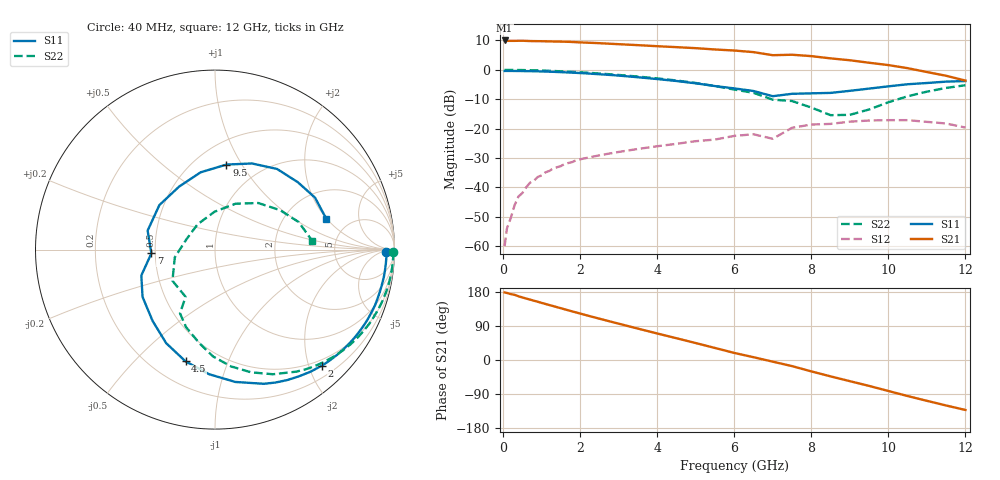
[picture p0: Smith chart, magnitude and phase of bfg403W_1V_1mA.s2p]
! Filename: 11bfg403.001
! BFG403W Field A1
! V1=8.458E-001V,V2=1.000E+000V, I1=1.381E-005A, I2=1.000E-003A
# GHz  S  MA  R 50
!  S11  S21  S12  S22
!Freq(GHz)  Mag  Ang  Mag  Ang  Mag  Ang  Mag  Ang
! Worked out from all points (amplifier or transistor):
!   44 points, 40 MHz to 12 GHz, reference 50 ohm
!   highest |S21| = 10.0 dB at 40 MHz (marker M1)
!   |S21| within 3 dB of that: start of sweep to 5.424 GHz
!   unconditionally stable (mu >= 1): 3.841 GHz to end of sweep
!   at 700 MHz: K = 0.12, MSG = 24.1 dB, |S12| = -38.4 dB
!   at 2.4 GHz: K = 0.46, MSG = 19.2 dB, |S12| = -29.4 dB
!   at 12 GHz: K = 3.08, MAG = 0.2 dB, |S12| = -19.7 dB
!   S11 on the Smith chart (normalised r, x): 40 MHz: 40, -11; 2 GHz: 0.39, -2.23; 4.5 GHz: 0.34, -0.71; 7 GHz: 0.48, -0.02; 9.5 GHz: 0.70, +0.86; 12 GHz: 3.35, +1.98
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0.04  0.954 -0.7  3.149 178.3  0.001 40.3  0.994 -0.7
0.1  0.956 -2.4  3.101 176.9  0.002 91.2  0.994 -1.9
0.3  0.954 -7.2  3.099 172.0  0.005 84.8  0.992 -6.0
0.7  0.946 -16.8  3.077 159.4  0.012 77.0  0.982 -14.0
1.4  0.917 -33.3  3.015 139.4  0.022 65.2  0.947 -27.5
2  0.879 -47.3  2.92 122.6  0.03 56.0  0.905 -38.7
2.2  0.864 -51.9  2.884 117.1  0.032 53.3  0.889 -42.4
2.8  0.814 -65.5  2.763 101.1  0.038 45.9  0.836 -53.0
3.5  0.746 -81.3  2.621 82.8  0.045 38.8  0.766 -65.0
4.5  0.644 -104.8  2.423 57.5  0.055 30.4  0.657 -82.2
5  0.588 -117.6  2.329 44.7  0.061 25.6  0.596 -91.0
5.5  0.528 -131.2  2.212 31.8  0.065 20.1  0.528 -99.6
6  0.482 -146.9  2.123 18.7  0.075 13.0  0.461 -110.5
6.5  0.435 -160.7  1.994 7.4  0.08 13.3  0.405 -118.8
7  0.355 -176.6  1.769 -4.4  0.067 12.2  0.31 -121.9
7.5  0.39 164.3  1.8 -16.1  0.103 4.7  0.294 -143.8
8  0.397 141.3  1.705 -30.0  0.117 -8.7  0.228 -169.1
8.5  0.404 119.6  1.561 -43.2  0.12 -19.7  0.169 159.9
9.5  0.478 82.3  1.316 -68.4  0.137 -42.6  0.211 90.7
10.5  0.567 52.4  1.064 -95.1  0.139 -69.0  0.354 47.2
11.5  0.628 27.5  0.79 -120.0  0.122 -97.5  0.491 18.2
12  0.643 15.6  0.655 -131.8  0.104 -114.9  0.545 4.9
